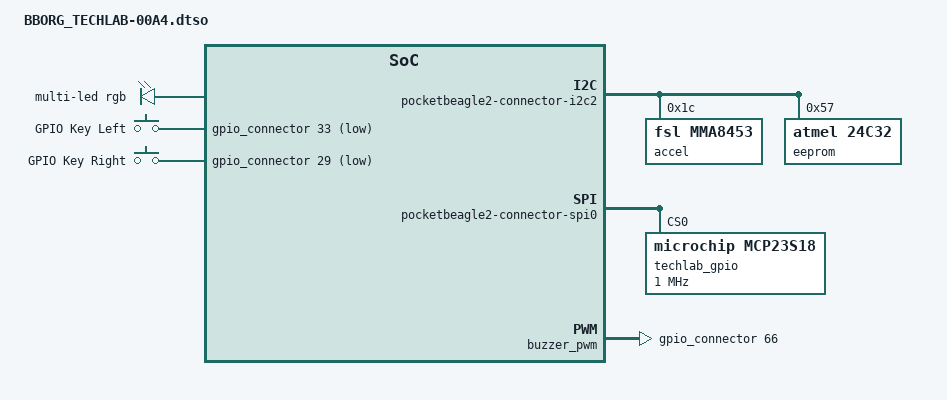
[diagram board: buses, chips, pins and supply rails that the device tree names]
// SPDX-License-Identifier: GPL-2.0-only OR MIT
/*
 * Copyright (C) 2025 Ayush Singh, BeagleBoard.org Foundation
 */

/dts-v1/;
/plugin/;

#include <dt-bindings/leds/common.h>
#include <dt-bindings/gpio/gpio.h>
#include <dt-bindings/input/input.h>

/ {
	fragment@0 {
		target-path="";

		__overlay__ {
			techlab-led {
				status = "okay";
				compatible = "pwm-leds-multicolor";
				pinctrl-names = "default";
				pinctrl-0 = <&P1_33_PWM_PINMUX &P1_36_PWM_PINMUX &P2_01_PWM_PINMUX>;

				multi-led {
					color = <LED_COLOR_ID_RGB>;
					max-brightness = <255>;

					led-red {
						pwms = <&pwm_connector 33 255 0>;
						color = <LED_COLOR_ID_RED>;
					};

					led-green {
						pwms = <&pwm_connector 37 255 0>;
						color = <LED_COLOR_ID_GREEN>;
					};

					led-blue {
						pwms = <&pwm_connector 36 255 0>;
						color = <LED_COLOR_ID_BLUE>;
					};
				};
			};

			buttons {
				compatible = "gpio-keys";
				pinctrl-names = "default";
				pinctrl-0 = <&P1_29_GPIO_PINMUX &P2_33_GPIO_PINMUX>;

				left {
					label = "GPIO Key Left";
					gpios = <&gpio_connector 33 GPIO_ACTIVE_LOW>;
        				linux,code = <KEY_LEFT>;
				};

				right {
					label = "GPIO Key Right";
					gpios = <&gpio_connector 29 GPIO_ACTIVE_LOW>;
        				linux,code = <KEY_RIGHT>;
				};
			};

			pocketbeagle2-connector-i2c2 {
				#address-cells = <1>;
				#size-cells = <0>;

				accel@1c {
					compatible = "fsl,mma8453";
					reg = <0x1c>;
				};

				eeprom@57 {
					compatible = "atmel,24c32";
					reg = <0x57>;
					pagesize = <32>;
				};
			};

			pocketbeagle2-connector-spi0 {
				#address-cells = <1>;
				#size-cells = <0>;

				techlab_gpio: techlab-gpio@0 {
					pinctrl-names = "default";
					pinctrl-0 = <
						&P2_25_SPI_PINMUX &P2_27_SPI_PINMUX 
						&P2_29_SPI_PINMUX &P2_31_SPI_PINMUX
					>;
			        	compatible = "microchip,mcp23s18";
			        	reg = <0>;
			        	gpio-controller;
			        	#gpio-cells = <2>;
			        	spi-max-frequency = <1000000>;
			        	microchip,spi-present-mask = <1>;
					gpio-line-names = "LD4", "LD7", "LD8",	  /* 0-2 */
							  "LD6", "LD3", "LD2",    /* 3-5 */
							  "LD5", "", "LD11",      /* 6-8 */
							  "LD14", "LD15", "LD13", /* 9-11 */
							  "LD10", "LD9", "LD12",  /* 12-14 */
							  "";                     /* 15 */
				};
			};

			seven-segments-left {
				compatible = "gpio-7-segment";
				segment-gpios = <&techlab_gpio 0 GPIO_ACTIVE_LOW>,
						<&techlab_gpio 1 GPIO_ACTIVE_LOW>,
						<&techlab_gpio 2 GPIO_ACTIVE_LOW>,
						<&techlab_gpio 3 GPIO_ACTIVE_LOW>,
						<&techlab_gpio 4 GPIO_ACTIVE_LOW>,
						<&techlab_gpio 5 GPIO_ACTIVE_LOW>,
						<&techlab_gpio 6 GPIO_ACTIVE_LOW>;
			};

			seven-segments-right {
				compatible = "gpio-7-segment";
				segment-gpios = <&techlab_gpio 8 GPIO_ACTIVE_LOW>,
						<&techlab_gpio 9 GPIO_ACTIVE_LOW>,
						<&techlab_gpio 10 GPIO_ACTIVE_LOW>,
						<&techlab_gpio 11 GPIO_ACTIVE_LOW>,
						<&techlab_gpio 12 GPIO_ACTIVE_LOW>,
						<&techlab_gpio 13 GPIO_ACTIVE_LOW>,
						<&techlab_gpio 14 GPIO_ACTIVE_LOW>;
			};

			buzzer_pwm: buzzer-pwm {
				#pwm-cells = <3>;
				compatible = "pwm-gpio";
				pinctrl-names = "default";
				pinctrl-0 = <&P2_30_GPIO_PINMUX>;
				gpios = <&gpio_connector 66 GPIO_ACTIVE_HIGH>;
			};

			techlab-buzzer {
				compatible = "pwm-beeper";
				pwms = <&buzzer_pwm 0 50000 0>;
			};
		};
	};
};
